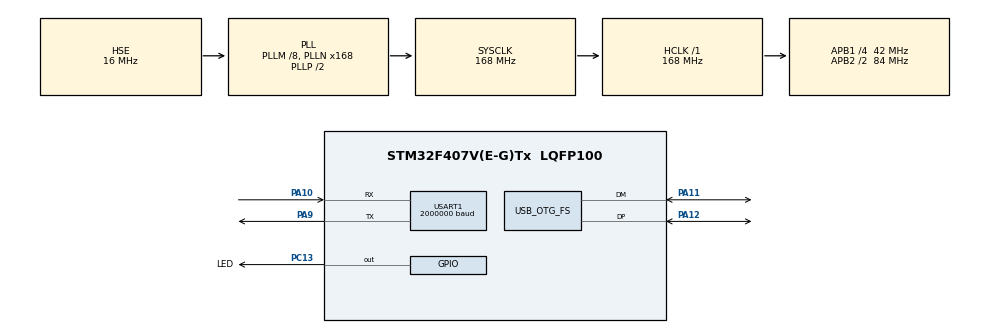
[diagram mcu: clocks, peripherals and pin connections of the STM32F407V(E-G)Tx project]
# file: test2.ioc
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FREERTOS.BinarySemaphores01=ledSemaphore,Dynamic,NULL,Available
FREERTOS.Mutexes01=printMutex,Dynamic,NULL,Available;ledMutex,Dynamic,NULL,Available
FREERTOS.Queues01=tickQueue,3,uint32_t,0,Dynamic,NULL,NULL
FREERTOS.Tasks01=defaultTask,24,128,StartDefaultTask,Default,NULL,Dynamic,NULL,NULL;ledTask,8,128,startLedTask,Default,NULL,Dynamic,NULL,NULL;tickTask,8,128,startTickTask,Default,NULL,Dynamic,NULL,NULL;statusTask,8,512,startStatusTask,Default,NULL,Dynamic,NULL,NULL
FREERTOS.configENABLE_FPU=1
FREERTOS.configGENERATE_RUN_TIME_STATS=1
FREERTOS.configTOTAL_HEAP_SIZE=65536
FREERTOS.configUSE_NEWLIB_REENTRANT=1
Mcu.Family=STM32F4
Mcu.Name=STM32F407V(E-G)Tx
Mcu.Package=LQFP100
NVIC.OTG_FS_IRQn=true\:5\:0\:false\:false\:true\:true\:false\:true\:true
NVIC.PriorityGroup=NVIC_PRIORITYGROUP_4
NVIC.TIM8_TRG_COM_TIM14_IRQn=true\:15\:0\:false\:false\:true\:false\:false\:true\:true
NVIC.TimeBase=TIM8_TRG_COM_TIM14_IRQn
NVIC.TimeBaseIP=TIM14
PA10.Mode=Asynchronous
PA10.Signal=USART1_RX
PA11.Mode=Device_Only
PA11.Signal=USB_OTG_FS_DM
PA12.Mode=Device_Only
PA12.Signal=USB_OTG_FS_DP
PA13.Mode=Trace_Asynchronous_SW
PA13.Signal=SYS_JTMS-SWDIO
PA14.Mode=Trace_Asynchronous_SW
PA14.Signal=SYS_JTCK-SWCLK
PA9.Mode=Asynchronous
PA9.Signal=USART1_TX
PB3.Mode=Trace_Asynchronous_SW
PB3.Signal=SYS_JTDO-SWO
PC13-ANTI_TAMP.GPIO_Label=LED
PC13-ANTI_TAMP.Signal=GPIO_Output
PH0-OSC_IN.Mode=HSE-External-Oscillator
PH0-OSC_IN.Signal=RCC_OSC_IN
PH1-OSC_OUT.Mode=HSE-External-Oscillator
PH1-OSC_OUT.Signal=RCC_OSC_OUT
ProjectManager.HeapSize=0x200
ProjectManager.StackSize=0x400
ProjectManager.TargetToolchain=STM32CubeIDE
RCC.48MHZClocksFreq_Value=48000000
RCC.AHBFreq_Value=168000000
RCC.APB1CLKDivider=RCC_HCLK_DIV4
RCC.APB1Freq_Value=42000000
RCC.APB1TimFreq_Value=84000000
RCC.APB2CLKDivider=RCC_HCLK_DIV2
RCC.APB2Freq_Value=84000000
RCC.APB2TimFreq_Value=168000000
RCC.CortexFreq_Value=168000000
RCC.HCLKFreq_Value=168000000
RCC.HSE_VALUE=16000000
RCC.HSI_VALUE=16000000
RCC.LSE_VALUE=32768
RCC.PLLM=8
RCC.PLLN=168
RCC.PLLQ=7
RCC.SYSCLKFreq_VALUE=168000000
RCC.SYSCLKSource=RCC_SYSCLKSOURCE_PLLCLK
RCC.VCOOutputFreq_Value=336000000
TIM13.Period=100 - 1
TIM13.Prescaler=84 - 1
USART1.BaudRate=2000000
USART1.VirtualMode=VM_ASYNC
USB_DEVICE.CLASS_NAME_FS=DFU
USB_DEVICE.MANUFACTURER_STRING-DFU_FS=CurrentMakers
USB_DEVICE.PRODUCT_STRING_DFU_FS=Streamline Webasm Upload
USB_DEVICE.VirtualMode-DFU_FS=Dfu
USB_DEVICE.VirtualModeFS=Dfu_FS
USB_OTG_FS.VirtualMode=Device_Only
VP_FREERTOS_VS_CMSIS_V2.Mode=CMSIS_V2
VP_SYS_VS_tim14.Mode=TIM14
VP_TIM13_VS_ClockSourceINT.Mode=Enable_Timer
VP_USB_DEVICE_VS_USB_DEVICE_DFU_FS.Mode=DFU_FS
board=custom

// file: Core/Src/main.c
/* USER CODE BEGIN Header */
/**
 ******************************************************************************
 * @file           : main.c
 * @brief          : Main program body
 ******************************************************************************
 * @attention
 *
 * Copyright (c) 2026 STM32World <lth@stm23world.com>
 * All rights reserved.
 *
 * This software is licensed under terms that can be found in the LICENSE file
 * in the root directory of this software component.
 * If no LICENSE file comes with this software, it is provided AS-IS.
 *
 ******************************************************************************
 */
/* USER CODE END Header */
#include "main.h"
#include "cmsis_os.h"
#include "usb_device.h"

/* USER CODE BEGIN Includes */
#include <stdlib.h>
#include <stdio.h>

#include "wasm3.h"
#include "m3_env.h"
/* USER CODE END Includes */

TIM_HandleTypeDef htim13;

UART_HandleTypeDef huart1;

/* Definitions for defaultTask */
osThreadId_t defaultTaskHandle;
const osThreadAttr_t defaultTask_attributes = { .name = "defaultTask",
		.stack_size = 128 * 4, .priority = (osPriority_t) osPriorityNormal, };
/* Definitions for ledTask */
osThreadId_t ledTaskHandle;
const osThreadAttr_t ledTask_attributes = { .name = "ledTask", .stack_size = 128
		* 4, .priority = (osPriority_t) osPriorityLow, };
/* Definitions for tickTask */
osThreadId_t tickTaskHandle;
const osThreadAttr_t tickTask_attributes = { .name = "tickTask", .stack_size =
		128 * 4, .priority = (osPriority_t) osPriorityLow, };
/* Definitions for statusTask */
osThreadId_t statusTaskHandle;
const osThreadAttr_t statusTask_attributes = { .name = "statusTask",
		.stack_size = 512 * 4, .priority = (osPriority_t) osPriorityLow, };
/* Definitions for tickQueue */
osMessageQueueId_t tickQueueHandle;
const osMessageQueueAttr_t tickQueue_attributes = { .name = "tickQueue" };
/* Definitions for printMutex */
osMutexId_t printMutexHandle;
const osMutexAttr_t printMutex_attributes = { .name = "printMutex" };
/* Definitions for ledMutex */
osMutexId_t ledMutexHandle;
const osMutexAttr_t ledMutex_attributes = { .name = "ledMutex" };
/* Definitions for ledSemaphore */
osSemaphoreId_t ledSemaphoreHandle;
const osSemaphoreAttr_t ledSemaphore_attributes = { .name = "ledSemaphore" };
/* USER CODE BEGIN PV */

// Counter updated from high freq timer
volatile unsigned long ulHighFrequencyTimerTicks;

// Pre-allocate all the heap for FreeRTOS.  FreeRTOS will do this by itself if this define is
// not set.
#ifdef configAPPLICATION_ALLOCATED_HEAP
uint8_t ucHeap[configTOTAL_HEAP_SIZE] __attribute__((section(".ccmram"))); // Put in ccmram
#endif

uint8_t wasm_stack[16 * 1024]; // 16KB for the Wasm stack/internal use

unsigned char test_wasm[] = { 0x00, 0x61, 0x73, 0x6d, 0x01, 0x00, 0x00, 0x00,
		0x01, 0x07, 0x01, 0x60, 0x02, 0x7f, 0x7f, 0x01, 0x7f, 0x03, 0x02, 0x01,
		0x00, 0x07, 0x07, 0x01, 0x03, 0x61, 0x64, 0x64, 0x00, 0x00, 0x0a, 0x09,
		0x01, 0x07, 0x00, 0x20, 0x00, 0x20, 0x01, 0x6a, 0x0b };

/* USER CODE END PV */

void SystemClock_Config(void);
static void MX_GPIO_Init(void);
static void MX_USART1_UART_Init(void);
static void MX_TIM13_Init(void);
void StartDefaultTask(void *argument);
void startLedTask(void *argument);
void startTickTask(void *argument);
void startStatusTask(void *argument);

/* USER CODE BEGIN 0 */

// Send printf to uart1
int __io_putchar(int ch) {
	if (ch == '\n') {
		HAL_UART_Transmit(&huart1, (uint8_t*) "\r", 1, HAL_MAX_DELAY);
	}
	if (HAL_UART_Transmit(&huart1, (uint8_t*) &ch, 1, HAL_MAX_DELAY)
			!= HAL_OK) {
		return -1;
	}
	return ch;
}

void configureTimerForRunTimeStats(void) {
	ulHighFrequencyTimerTicks = 0;
	HAL_TIM_Base_Start_IT(&htim13);
}

unsigned long getRunTimeCounterValue(void) {
	return ulHighFrequencyTimerTicks;
}

void run_wasm(void) {
	IM3Environment env = m3_NewEnvironment();
	/* We create a runtime using our CCM RAM stack */
	IM3Runtime runtime = m3_NewRuntime(env, sizeof(wasm_stack), NULL);

	// In Wasm3, you can manually point the runtime to use your specific buffer
	// For simplicity, m3_NewRuntime allocates from the system heap unless
	// you override the allocator, but defining the stack in CCM is a great start.

	IM3Module module;
	m3_ParseModule(env, &module, test_wasm, sizeof(test_wasm));
	m3_LoadModule(runtime, module);

	IM3Function f;
	m3_FindFunction(&f, runtime, "add");

	// Call the function: add(10, 20)
	const char *i_argv[] = { "10", "20" };
	m3_CallArgv(f, 2, i_argv);

	// Get the result
	int32_t result = 0;
	m3_GetResultsV(f, &result);

	printf("10 + 20 = %d\n", result);

	// result is now 30!
}

/* USER CODE END 0 */

int main(void) {

	/* MCU Configuration--------------------------------------------------------*/

	/* Reset of all peripherals, Initializes the Flash interface and the Systick. */
	HAL_Init();

	/* Configure the system clock */
	SystemClock_Config();

	/* Initialize all configured peripherals */
	MX_GPIO_Init();
	MX_USART1_UART_Init();
	MX_TIM13_Init();
	/* USER CODE BEGIN 2 */

	printf("\n\n\n\nStarting WASM demo\n");

	run_wasm();

	/* USER CODE END 2 */

	/* Init scheduler */
	osKernelInitialize();
	/* Create the mutex(es) */
	/* creation of printMutex */
	printMutexHandle = osMutexNew(&printMutex_attributes);

	/* creation of ledMutex */
	ledMutexHandle = osMutexNew(&ledMutex_attributes);

	/* Create the semaphores(s) */
	/* creation of ledSemaphore */
	ledSemaphoreHandle = osSemaphoreNew(1, 1, &ledSemaphore_attributes);

	/* Create the queue(s) */
	/* creation of tickQueue */
	tickQueueHandle = osMessageQueueNew(3, sizeof(uint32_t),
			&tickQueue_attributes);

	/* Create the thread(s) */
	/* creation of defaultTask */
	defaultTaskHandle = osThreadNew(StartDefaultTask, NULL,
			&defaultTask_attributes);

	/* creation of ledTask */
	ledTaskHandle = osThreadNew(startLedTask, NULL, &ledTask_attributes);

	/* creation of tickTask */
	tickTaskHandle = osThreadNew(startTickTask, NULL, &tickTask_attributes);

	/* creation of statusTask */
	statusTaskHandle = osThreadNew(startStatusTask, NULL,
			&statusTask_attributes);

	/* Start scheduler */
	osKernelStart();

	/* We should never get here as control is now taken by the scheduler */

	/* Infinite loop */
	/* USER CODE BEGIN WHILE */

	uint32_t now = 0, next_blink = 500, next_tick = 1000;

	while (1) {

		now = uwTick;

		if (now >= next_blink) {
			HAL_GPIO_TogglePin(LED_GPIO_Port, LED_Pin);
			next_blink = now + 500;
		}

		if (now >= next_tick) {
			printf("Tick %lu\n", now / 1000);
			next_tick = now + 1000;
		}

		/* USER CODE END WHILE */

	}
}

void SystemClock_Config(void) {
	RCC_OscInitTypeDef RCC_OscInitStruct = { 0 };
	RCC_ClkInitTypeDef RCC_ClkInitStruct = { 0 };

	/** Configure the main internal regulator output voltage
	 */
	__HAL_RCC_PWR_CLK_ENABLE();
	__HAL_PWR_VOLTAGESCALING_CONFIG(PWR_REGULATOR_VOLTAGE_SCALE1);

	/** Initializes the RCC Oscillators according to the specified parameters
	 * in the RCC_OscInitTypeDef structure.
	 */
	RCC_OscInitStruct.OscillatorType = RCC_OSCILLATORTYPE_HSE;
	RCC_OscInitStruct.HSEState = RCC_HSE_ON;
	RCC_OscInitStruct.PLL.PLLState = RCC_PLL_ON;
	RCC_OscInitStruct.PLL.PLLSource = RCC_PLLSOURCE_HSE;
	RCC_OscInitStruct.PLL.PLLM = 8;
	RCC_OscInitStruct.PLL.PLLN = 168;
	RCC_OscInitStruct.PLL.PLLP = RCC_PLLP_DIV2;
	RCC_OscInitStruct.PLL.PLLQ = 7;
	if (HAL_RCC_OscConfig(&RCC_OscInitStruct) != HAL_OK) {
		Error_Handler();
	}

	/** Initializes the CPU, AHB and APB buses clocks
	 */
	RCC_ClkInitStruct.ClockType = RCC_CLOCKTYPE_HCLK | RCC_CLOCKTYPE_SYSCLK
			| RCC_CLOCKTYPE_PCLK1 | RCC_CLOCKTYPE_PCLK2;
	RCC_ClkInitStruct.SYSCLKSource = RCC_SYSCLKSOURCE_PLLCLK;
	RCC_ClkInitStruct.AHBCLKDivider = RCC_SYSCLK_DIV1;
	RCC_ClkInitStruct.APB1CLKDivider = RCC_HCLK_DIV4;
	RCC_ClkInitStruct.APB2CLKDivider = RCC_HCLK_DIV2;

	if (HAL_RCC_ClockConfig(&RCC_ClkInitStruct, FLASH_LATENCY_5) != HAL_OK) {
		Error_Handler();
	}
}

static void MX_TIM13_Init(void) {

	htim13.Instance = TIM13;
	htim13.Init.Prescaler = 84 - 1;
	htim13.Init.CounterMode = TIM_COUNTERMODE_UP;
	htim13.Init.Period = 100 - 1;
	htim13.Init.ClockDivision = TIM_CLOCKDIVISION_DIV1;
	htim13.Init.AutoReloadPreload = TIM_AUTORELOAD_PRELOAD_DISABLE;
	if (HAL_TIM_Base_Init(&htim13) != HAL_OK) {
		Error_Handler();
	}

}

static void MX_USART1_UART_Init(void) {

	huart1.Instance = USART1;
	huart1.Init.BaudRate = 2000000;
	huart1.Init.WordLength = UART_WORDLENGTH_8B;
	huart1.Init.StopBits = UART_STOPBITS_1;
	huart1.Init.Parity = UART_PARITY_NONE;
	huart1.Init.Mode = UART_MODE_TX_RX;
	huart1.Init.HwFlowCtl = UART_HWCONTROL_NONE;
	huart1.Init.OverSampling = UART_OVERSAMPLING_16;
	if (HAL_UART_Init(&huart1) != HAL_OK) {
		Error_Handler();
	}

}

static void MX_GPIO_Init(void) {
	GPIO_InitTypeDef GPIO_InitStruct = { 0 };

	/* GPIO Ports Clock Enable */
	__HAL_RCC_GPIOC_CLK_ENABLE();
	__HAL_RCC_GPIOH_CLK_ENABLE();
	__HAL_RCC_GPIOA_CLK_ENABLE();
	__HAL_RCC_GPIOB_CLK_ENABLE();

	/*Configure GPIO pin Output Level */
	HAL_GPIO_WritePin(LED_GPIO_Port, LED_Pin, GPIO_PIN_RESET);

	/*Configure GPIO pin : LED_Pin */
	GPIO_InitStruct.Pin = LED_Pin;
	GPIO_InitStruct.Mode = GPIO_MODE_OUTPUT_PP;
	GPIO_InitStruct.Pull = GPIO_NOPULL;
	GPIO_InitStruct.Speed = GPIO_SPEED_FREQ_LOW;
	HAL_GPIO_Init(LED_GPIO_Port, &GPIO_InitStruct);

}

void StartDefaultTask(void *argument) {
	/* init code for USB_DEVICE */
	MX_USB_DEVICE_Init();
	/* USER CODE BEGIN 5 */

	uint32_t loop_cnt = 0;

	/* Infinite loop */
	for (;;) {
		osDelay(100);

		if (loop_cnt % 10 == 0) {

			uint32_t tick = osKernelGetTickCount();

			osMessageQueuePut(tickQueueHandle, &tick, 0, osWaitForever);

		}

		if (loop_cnt % 5 == 0) {

			osSemaphoreRelease(ledSemaphoreHandle);

		}

		++loop_cnt;
	}
	/* USER CODE END 5 */
}

void startLedTask(void *argument) {
	/* USER CODE BEGIN startLedTask */

	osStatus_t ret;

	/* Infinite loop */
	for (;;) {

		ret = osSemaphoreAcquire(ledSemaphoreHandle, osWaitForever);

		if (!ret) {

			osMutexWait(ledMutexHandle, osWaitForever);

			HAL_GPIO_TogglePin(LED_GPIO_Port, LED_Pin);

			osMutexRelease(ledMutexHandle);

		}

	}
	/* USER CODE END startLedTask */
}

void startTickTask(void *argument) {
	/* USER CODE BEGIN startTickTask */
	osStatus_t ret;

	/* Infinite loop */
	for (;;) {

		uint32_t tick;

		ret = osMessageQueueGet(tickQueueHandle, &tick, NULL, osWaitForever);

		if (ret == osOK) {

			osMutexWait(printMutexHandle, osWaitForever);

			printf("Tick %lu \n", tick / 1000);

			osMutexRelease(printMutexHandle);

		}

	}
	/* USER CODE END startTickTask */
}

void startStatusTask(void *argument) {
	/* USER CODE BEGIN startStatusTask */
	TaskStatus_t *pxTaskStatusArray;
	volatile UBaseType_t uxArraySize, x;
	unsigned long ulTotalRunTime;
	float runtime_percentage;

	/* Infinite loop */
	for (;;) {

		osDelay(10000);

		uxArraySize = uxTaskGetNumberOfTasks();
		pxTaskStatusArray = pvPortMalloc(uxArraySize * sizeof(TaskStatus_t)); // a little bit scary!

		osMutexWait(printMutexHandle, osWaitForever);

		if (pxTaskStatusArray != NULL) {

			uxArraySize = uxTaskGetSystemState(pxTaskStatusArray, uxArraySize,
					&ulTotalRunTime);

			printf("Task count = %lu\n", uxArraySize);
			printf("No       Name          P  S   Usage       Count      HW\n");

			for (x = 0; x < uxArraySize; x++) {

				runtime_percentage = (float) (100
						* (float) pxTaskStatusArray[x].ulRunTimeCounter
						/ (float) ulTotalRunTime);

				printf("Task %2lu: %-12s %2lu %2d %8.4f (%12lu) %5i\n", x,
						pxTaskStatusArray[x].pcTaskName,
						pxTaskStatusArray[x].uxCurrentPriority,
						pxTaskStatusArray[x].eCurrentState, runtime_percentage,
						pxTaskStatusArray[x].ulRunTimeCounter,
						pxTaskStatusArray[x].usStackHighWaterMark);

			}

			vPortFree(pxTaskStatusArray);

		} else {
			printf("Unable to allocate stack space\n");
		}

		osMutexRelease(printMutexHandle);

	}
	/* USER CODE END startStatusTask */
}

void HAL_TIM_PeriodElapsedCallback(TIM_HandleTypeDef *htim) {
	if (htim->Instance == TIM14) {
		HAL_IncTick();
	}
}

void Error_Handler(void) {
	__disable_irq();
	while (1) {
	}
}
